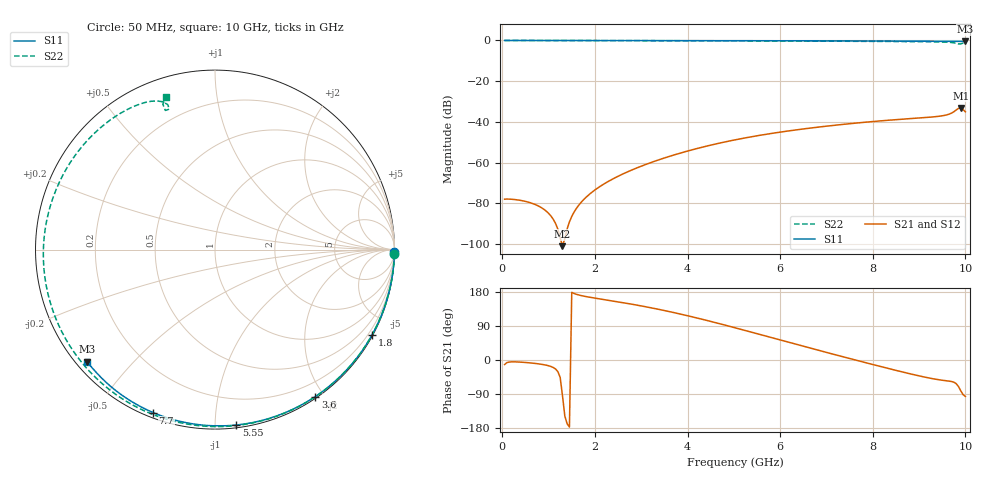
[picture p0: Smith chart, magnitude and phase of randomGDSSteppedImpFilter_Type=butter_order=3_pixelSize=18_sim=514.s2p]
! freq	dB(S11)	phase(S11)	dB(S12)	phase(S12)
!  dB(S21)	phase(S21)	dB(S22)	phase(S22)
!S-par simulation data
#  GHz  S  DB  R 50
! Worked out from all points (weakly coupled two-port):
!   200 points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, 50 MHz to 10 GHz, reference 50 ohm
!   highest |S21| = -33.15 dB at 9.9 GHz (marker M1); lowest = -101.1 dB at 1.3 GHz (marker M2)
!   lowest |S11| = -0.5 dB at 10 GHz (marker M3), VSWR 37.33, Z = 1.53 - j18.8 ohm
!   |S11| at or under -10 dB: nowhere
!   |S22| runs from -1.7 to 0.0 dB; largest |S21 - S12| = 0
!   S11 on the Smith chart (normalised r, x): 50 MHz: open; 1.8 GHz: 0.03, -3.93; 3.6 GHz: 0.02, -1.89; 5.55 GHz: 0.02, -1.13; 7.7 GHz: 0.02, -0.69; 10 GHz: 0.03, -0.38
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0.05  -0.00 -0.8  -78.00 -12.0  -78.00 -12.0  -0.00 -1.3
0.65  -0.02 -10.4  -80.07 -8.2  -80.07 -8.2  -0.02 -16.8
1.3  -0.03 -20.7  -101.06 -94.1  -101.06 -94.1  -0.04 -33.3
1.65  -0.03 -26.2  -80.97 171.6  -80.97 171.6  -0.05 -42.1
1.75  -0.04 -27.8  -78.35 168.7  -78.35 168.7  -0.06 -44.6
1.8  -0.04 -28.5  -77.22 167.5  -77.22 167.5  -0.06 -45.8
2.1  -0.04 -33.2  -71.87 161.3  -71.87 161.3  -0.07 -53.2
2.45  -0.05 -38.5  -67.29 154.5  -67.29 154.5  -0.08 -61.7
3.4  -0.07 -52.8  -58.48 133.1  -58.48 133.1  -0.11 -84.3
3.6  -0.08 -55.7  -57.01 127.9  -57.01 127.9  -0.12 -88.9
4.3  -0.09 -65.8  -52.53 108.0  -52.53 108.0  -0.15 -105.0
5.05  -0.12 -76.2  -48.72 84.3  -48.72 84.3  -0.19 -121.9
5.55  -0.14 -83.0  -46.64 67.8  -46.64 67.8  -0.22 -133.3
6.7  -0.19 -98.2  -42.90 29.8  -42.90 29.8  -0.31 -160.1
7.7  -0.25 -110.8  -40.45 -2.4  -40.45 -2.4  -0.41 174.7
8.35  -0.30 -118.8  -39.17 -22.8  -39.17 -22.8  -0.49 156.6
8.9  -0.35 -125.5  -38.26 -39.1  -38.26 -39.1  -0.58 139.8
9.45  -0.41 -132.2  -37.19 -52.6  -37.19 -52.6  -0.73 121.1
9.65  -0.43 -134.6  -36.19 -55.8  -36.19 -55.8  -0.91 113.4
9.8  -0.45 -136.4  -34.19 -62.3  -34.19 -62.3  -1.41 108.1
9.9  -0.46 -137.6  -33.15 -81.3  -33.15 -81.3  -1.69 109.6
10  -0.47 -138.9  -35.06 -96.1  -35.06 -96.1  -0.97 107.7
